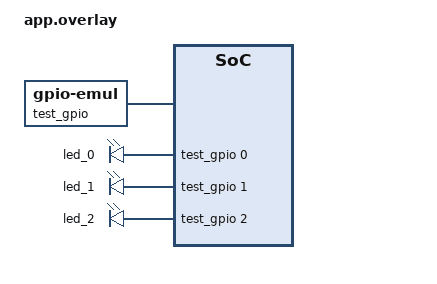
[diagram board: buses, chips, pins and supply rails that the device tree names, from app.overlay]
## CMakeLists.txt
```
# SPDX-License-Identifier: Apache-2.0

cmake_minimum_required(VERSION 3.28.0)

find_package(Zephyr REQUIRED HINTS $ENV{ZEPHYR_BASE})
project(led_unit_test)

set(LED_SRC_DIR ${CMAKE_CURRENT_SOURCE_DIR}/../../src/led)

target_sources(app PRIVATE
	${LED_SRC_DIR}/led.c
	${LED_SRC_DIR}/led_cmd.c
)

target_include_directories(app PRIVATE ${LED_SRC_DIR})

if(CONFIG_LED_TEST_NOT_READY)
	target_sources(app PRIVATE src/test_led_not_ready.c)
else()
	target_sources(app PRIVATE src/test_led.c)
endif()
```

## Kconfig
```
config LED_TEST_NOT_READY
	bool "Build the 'GPIO controller not ready' test scenario"
	help
	  Selects the test file that runs with a deferred-init GPIO controller.

rsource "../../Kconfig"
```

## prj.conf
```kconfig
CONFIG_ZTEST=y
CONFIG_GPIO=y
CONFIG_GPIO_EMUL=y
CONFIG_LOG=y

# Short periods keep the tests fast.
CONFIG_LED_PERIOD_SLOW_MS=400
CONFIG_LED_PERIOD_NORMAL_MS=200
CONFIG_LED_PERIOD_FAST_MS=100
```

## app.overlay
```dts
/ {
	aliases {
		led0 = &led_0;
		led1 = &led_1;
		led2 = &led_2;
	};

	test_gpio: test_gpio {
		compatible = "zephyr,gpio-emul";
		gpio-controller;
		#gpio-cells = <2>;
		ngpios = <8>;
	};

	leds {
		compatible = "gpio-leds";

		led_0: led_0 {
			gpios = <&test_gpio 0 GPIO_ACTIVE_HIGH>;
		};

		led_1: led_1 {
			gpios = <&test_gpio 1 GPIO_ACTIVE_HIGH>;
		};

		led_2: led_2 {
			gpios = <&test_gpio 2 GPIO_ACTIVE_HIGH>;
		};
	};
};
```

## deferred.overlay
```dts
/* SPDX-License-Identifier: Apache-2.0 */
/*
 * Cenario "controlador nao pronto": o LED1 passa para um GPIO com
 * zephyr,deferred-init, que so inicializa quando o teste chamar
 * device_init().
 */

#include <zephyr/dt-bindings/gpio/gpio.h>

/ {
	test_gpio_deferred: gpio_test_deferred {
		compatible = "zephyr,gpio-emul";
		gpio-controller;
		#gpio-cells = <2>;
		rising-edge;
		falling-edge;
		high-level;
		low-level;
		zephyr,deferred-init;
		status = "okay";
	};
};

&test_led1 {
	gpios = <&test_gpio_deferred 0 GPIO_ACTIVE_HIGH>;
};
```

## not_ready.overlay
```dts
/* The controller is never initialized, so it is never ready. */
&test_gpio {
	zephyr,deferred-init;
};
```

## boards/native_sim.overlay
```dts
/* SPDX-License-Identifier: Apache-2.0 */
/* O mesmo botao da aplicacao, para o teste ler sw0 pelo emulador. */

#include <zephyr/dt-bindings/input/input-event-codes.h>

/ {
	aliases {
		sw0 = &sw0;
	};

	buttons {
		compatible = "gpio-keys";

		sw0: button_0 {
			gpios = <&gpio0 1 GPIO_ACTIVE_HIGH>;
			zephyr,code = <INPUT_KEY_0>;
		};
	};
};
```

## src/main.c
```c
/*
 * Testes unitários do módulo de LEDs (ztest + gpio-emul no native_sim).
 */
#include <errno.h>
#include <zephyr/kernel.h>
#include <zephyr/ztest.h>
#include <zephyr/drivers/gpio.h>
#include <zephyr/drivers/gpio/gpio_emul.h>

#include "leds.h"

#define N_LEDS 3

static const struct gpio_dt_spec pins[N_LEDS] = {
	GPIO_DT_SPEC_GET(DT_ALIAS(led0), gpios),
	GPIO_DT_SPEC_GET(DT_ALIAS(led1), gpios),
	GPIO_DT_SPEC_GET(DT_ALIAS(led2), gpios),
};

/* Nível físico do pino (ativo em alto: 1 = LED ligado). */
static int level(size_t i)
{
	return gpio_emul_output_get_dt(&pins[i]);
}

/* Amostra o pino durante @p ms (tempo real do kernel) e conta as trocas. */
static unsigned int count_transitions(size_t i, int ms)
{
	unsigned int n = 0;
	int prev = level(i);
	int64_t end = k_uptime_get() + ms;

	while (k_uptime_get() < end) {
		k_msleep(1);

		int cur = level(i);

		if (cur != prev) {
			n++;
			prev = cur;
		}
	}

	return n;
}

static void before_each(void *fixture)
{
	ARG_UNUSED(fixture);
	zassert_ok(leds_init());
}

ZTEST_SUITE(leds, NULL, NULL, before_each, NULL, NULL);

ZTEST(leds, test_init_ok_all_off)
{
	zassert_equal(leds_count(), N_LEDS);

	for (size_t i = 0; i < N_LEDS; i++) {
		zassert_equal(level(i), 0, "LED %zu deveria iniciar desligado", i);
	}
}

ZTEST(leds, test_reinit_stops_blink)
{
	zassert_ok(leds_blink(0, LEDS_PATTERN_FAST));
	k_msleep(CONFIG_APP_LEDS_FAST_MS / 2);

	zassert_ok(leds_init());
	zassert_equal(level(0), 0);
	zassert_equal(count_transitions(0, 4 * CONFIG_APP_LEDS_FAST_MS), 0);

	/* O timer continua funcional depois da reinicialização. */
	zassert_ok(leds_blink(0, LEDS_PATTERN_FAST));
	zassert_true(count_transitions(0, 4 * CONFIG_APP_LEDS_FAST_MS) > 0);
}

ZTEST(leds, test_on_off_toggle_change_pin)
{
	for (size_t i = 0; i < N_LEDS; i++) {
		zassert_ok(leds_on(i));
		zassert_equal(level(i), 1);

		zassert_ok(leds_off(i));
		zassert_equal(level(i), 0);

		zassert_ok(leds_toggle(i));
		zassert_equal(level(i), 1);

		zassert_ok(leds_toggle(i));
		zassert_equal(level(i), 0);
	}
}

ZTEST(leds, test_blink_observed_on_and_off)
{
	bool seen_on = false;
	bool seen_off = false;

	zassert_ok(leds_blink(0, LEDS_PATTERN_NORMAL));

	for (int t = 0; t < 3 * CONFIG_APP_LEDS_NORMAL_MS; t++) {
		int v = level(0);

		seen_on |= (v == 1);
		seen_off |= (v == 0);
		k_msleep(1);
	}

	zassert_true(seen_on, "pino nunca foi visto ligado");
	zassert_true(seen_off, "pino nunca foi visto desligado");
}

ZTEST(leds, test_two_leds_different_periods)
{
	zassert_ok(leds_blink(0, LEDS_PATTERN_SLOW));
	zassert_ok(leds_blink(1, LEDS_PATTERN_FAST));

	int window = 4 * CONFIG_APP_LEDS_SLOW_MS;
	unsigned int slow = 0;
	unsigned int fast = 0;
	int prev_slow = level(0);
	int prev_fast = level(1);

	/* Observa os dois no mesmo intervalo de tempo. */
	for (int t = 0; t < window; t++) {
		k_msleep(1);

		int s = level(0);
		int f = level(1);

		slow += (s != prev_slow);
		fast += (f != prev_fast);
		prev_slow = s;
		prev_fast = f;
	}

	zassert_true(slow > 0, "LED lento nao piscou");
	zassert_true(fast > slow, "rapido (%u) deveria trocar mais que lento (%u)", fast, slow);
}

ZTEST(leds, test_leds_are_independent)
{
	/* LED 0 pisca; mexer no LED 1 não pode alterar o período do LED 0. */
	zassert_ok(leds_blink(0, LEDS_PATTERN_NORMAL));
	k_msleep(CONFIG_APP_LEDS_NORMAL_MS / 3);

	zassert_ok(leds_blink(1, LEDS_PATTERN_FAST));
	k_msleep(CONFIG_APP_LEDS_FAST_MS * 2 + 7);
	zassert_ok(leds_blink(1, LEDS_PATTERN_SLOW));
	k_msleep(CONFIG_APP_LEDS_SLOW_MS / 2 + 3);
	zassert_ok(leds_off(1));

	int window = 10 * CONFIG_APP_LEDS_NORMAL_MS;
	unsigned int n = count_transitions(0, window);

	/* Esperado: ~10 trocas (tolerância de 1 por borda da janela). */
	zassert_between_inclusive(n, 9, 11, "LED 0 trocou %u vezes (esperado ~10)", n);
	zassert_equal(level(1), 0);
}

ZTEST(leds, test_on_off_toggle_cancel_blink)
{
	int (*const actions[])(size_t) = { leds_on, leds_off, leds_toggle };

	for (size_t a = 0; a < ARRAY_SIZE(actions); a++) {
		zassert_ok(leds_init());
		zassert_ok(leds_blink(0, LEDS_PATTERN_FAST));
		k_msleep(CONFIG_APP_LEDS_FAST_MS * 3 / 2);

		zassert_ok(actions[a](0));
		zassert_equal(count_transitions(0, 5 * CONFIG_APP_LEDS_FAST_MS), 0,
			      "acao %zu nao cancelou o pisca", a);
	}
}

ZTEST(leds, test_apply_all)
{
	zassert_ok(leds_apply_all(LEDS_CMD_ON, 0));
	for (size_t i = 0; i < N_LEDS; i++) {
		zassert_equal(level(i), 1, "LED %zu nao ligou", i);
	}

	zassert_ok(leds_apply_all(LEDS_CMD_OFF, 0));
	for (size_t i = 0; i < N_LEDS; i++) {
		zassert_equal(level(i), 0, "LED %zu nao desligou", i);
	}

	zassert_ok(leds_apply_all(LEDS_CMD_TOGGLE, 0));
	for (size_t i = 0; i < N_LEDS; i++) {
		zassert_equal(level(i), 1, "LED %zu nao alternou", i);
	}

	/* LEDS_ALL também vale nos atalhos. */
	zassert_ok(leds_off(LEDS_ALL));
	for (size_t i = 0; i < N_LEDS; i++) {
		zassert_equal(level(i), 0);
	}
}

ZTEST(leds, test_apply_all_blink_and_stop)
{
	zassert_ok(leds_apply_all(LEDS_CMD_BLINK, LEDS_PATTERN_FAST));

	bool seen_on[N_LEDS] = { false };
	bool seen_off[N_LEDS] = { false };

	for (int t = 0; t < 3 * CONFIG_APP_LEDS_FAST_MS; t++) {
		for (size_t i = 0; i < N_LEDS; i++) {
			int v = level(i);

			seen_on[i] |= (v == 1);
			seen_off[i] |= (v == 0);
		}
		k_msleep(1);
	}

	for (size_t i = 0; i < N_LEDS; i++) {
		zassert_true(seen_on[i] && seen_off[i], "LED %zu nao piscou", i);
	}

	zassert_ok(leds_apply_all(LEDS_CMD_OFF, 0));
	for (size_t i = 0; i < N_LEDS; i++) {
		zassert_equal(count_transitions(i, 3 * CONFIG_APP_LEDS_FAST_MS), 0);
		zassert_equal(level(i), 0);
	}
}

ZTEST(leds, test_invalid_arguments)
{
	/* LED fora do intervalo */
	zassert_equal(leds_on(N_LEDS), -EINVAL);
	zassert_equal(leds_off(N_LEDS + 10), -EINVAL);
	zassert_equal(leds_toggle(N_LEDS), -EINVAL);
	zassert_equal(leds_blink(N_LEDS, LEDS_PATTERN_SLOW), -EINVAL);

	/* Padrão fora do intervalo */
	zassert_equal(leds_blink(0, LEDS_PATTERN_COUNT), -EINVAL);
	zassert_equal(leds_blink(0, (enum leds_pattern)99), -EINVAL);
	zassert_equal(leds_apply_all(LEDS_CMD_BLINK, LEDS_PATTERN_COUNT), -EINVAL);

	/* Comando inválido */
	zassert_equal(leds_apply(0, LEDS_CMD_COUNT, 0), -EINVAL);

	/* Nada mudou nos pinos */
	for (size_t i = 0; i < N_LEDS; i++) {
		zassert_equal(level(i), 0);
	}
}
```

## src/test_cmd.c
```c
/*******************************************************************
 * @file test_cmd.c
 *
 * @brief Testes do parsing/dispatch com um HAL falso (sem GPIO).
 *******************************************************************/

#include <string.h>

#include <zephyr/ztest.h>

#include "cmd.h"

static bool fake_led;
static int fake_btn;
static int led_set_calls;

static int fake_led_set(bool on)
{
	led_set_calls++;
	fake_led = on;
	return 0;
}

static bool fake_led_get(void)
{
	return fake_led;
}

static int fake_btn_get(void)
{
	return fake_btn;
}

static int64_t fake_uptime(void)
{
	return 12345;
}

static const struct cmd_hal fake_hal = {
	.led_set = fake_led_set,
	.led_get = fake_led_get,
	.btn_get = fake_btn_get,
	.uptime_ms = fake_uptime,
};

static char out[256];

static const char *run(const char *line)
{
	int n = cmd_dispatch(line, out, sizeof(out));

	zassert_equal(n, (int)strlen(out), "retorno deve ser o tamanho da resposta");
	return out;
}

static void before(void *fixture)
{
	ARG_UNUSED(fixture);
	fake_led = false;
	fake_btn = 0;
	led_set_calls = 0;
	memset(out, 0, sizeof(out));
	cmd_init(&fake_hal);
}

ZTEST(cmd, test_help_lists_one_command_per_line)
{
	const char *r = run("HELP");

	zassert_not_null(strstr(r, "HELP"));
	zassert_not_null(strstr(r, "LED"));
	zassert_not_null(strstr(r, "BTN"));
	zassert_not_null(strstr(r, "UPTIME"));
	zassert_not_null(strstr(r, "ECHO"));
	zassert_not_equal(strncmp(r + strlen(r) - 2, "\r\n", 2), 0,
			  "o \\r\\n final e do transporte");
}

ZTEST(cmd, test_led_on_off)
{
	zassert_str_equal(run("LED ON"), "OK");
	zassert_true(fake_led);
	zassert_str_equal(run("LED"), "LED: ON");

	zassert_str_equal(run("LED OFF"), "OK");
	zassert_false(fake_led);
	zassert_str_equal(run("LED"), "LED: OFF");
	zassert_equal(led_set_calls, 2);
}

ZTEST(cmd, test_case_insensitive)
{
	zassert_str_equal(run("led on"), "OK");
	zassert_str_equal(run("Led"), "LED: ON");
	zassert_str_equal(run("lEd oFf"), "OK");
	zassert_str_equal(run("btn"), "BTN: 0");
}

ZTEST(cmd, test_btn)
{
	zassert_str_equal(run("BTN"), "BTN: 0");
	fake_btn = 1;
	zassert_str_equal(run("BTN"), "BTN: 1");
}

ZTEST(cmd, test_uptime)
{
	zassert_str_equal(run("UPTIME"), "UPTIME: 12345 ms");
}

ZTEST(cmd, test_echo_keeps_text)
{
	zassert_str_equal(run("ECHO oi"), "oi");
	zassert_str_equal(run("echo Ola  Mundo "), "Ola  Mundo ");
	zassert_str_equal(run("ECHO"), "");
}

ZTEST(cmd, test_unknown)
{
	zassert_str_equal(run("FOO"), "ERR: unknown command");
	zassert_str_equal(run("LEDON"), "ERR: unknown command");
	zassert_str_equal(run("LED BLINK"), "ERR: unknown command");
	zassert_str_equal(run("BTN 1"), "ERR: unknown command");
	zassert_equal(led_set_calls, 0);
}

ZTEST(cmd, test_whitespace)
{
	zassert_str_equal(run("   LED   ON  "), "OK");
	zassert_equal(cmd_dispatch("", out, sizeof(out)), 0);
	zassert_equal(cmd_dispatch("   ", out, sizeof(out)), 0);
}

ZTEST(cmd, test_small_buffer_is_truncated)
{
	char small[4];
	int n = cmd_dispatch("ECHO abcdef", small, sizeof(small));

	zassert_equal(n, 3);
	zassert_str_equal(small, "abc");
}

ZTEST_SUITE(cmd, NULL, NULL, before, NULL, NULL);
```

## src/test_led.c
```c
/**
 * @file test_led.c
 *
 * @brief LED driver unit tests, with the GPIO controller ready.
 *
 * Pin levels are read from the GPIO emulator. Pin N is LED N, following
 * the order of declaration in app.overlay.
 */
#include <errno.h>

#include <zephyr/devicetree.h>
#include <zephyr/drivers/gpio/gpio_emul.h>
#include <zephyr/kernel.h>
#include <zephyr/ztest.h>

#include "led.h"

#define GPIO_DEV DEVICE_DT_GET(DT_NODELABEL(test_gpio))
#define NUM_LEDS DT_CHILD_NUM_STATUS_OKAY(DT_PATH(leds))

#define SAMPLE_STEP_MS 5

/* What was observed on a pin while it was watched. */
struct pin_stats {
	int highs; /* samples with the pin on */
	int lows;  /* samples with the pin off */
	int edges; /* level changes */
};

static int pin_level(int led)
{
	return gpio_emul_output_get(GPIO_DEV, led);
}

static void assert_all_pins(int level)
{
	for (int i = 0; i < NUM_LEDS; i++) {
		zassert_equal(pin_level(i), level, "LED %d: unexpected pin level", i);
	}
}

/* Sample the pins of @p count LEDs together for @p duration_ms. */
static void watch_pins(const int *leds, struct pin_stats *stats, size_t count, int duration_ms)
{
	int last[count];

	for (size_t i = 0; i < count; i++) {
		stats[i] = (struct pin_stats){0};
		last[i] = pin_level(leds[i]);
	}

	for (int t = 0; t < duration_ms; t += SAMPLE_STEP_MS) {
		for (size_t i = 0; i < count; i++) {
			int level = pin_level(leds[i]);

			stats[i].highs += (level != 0);
			stats[i].lows += (level == 0);
			stats[i].edges += (level != last[i]);
			last[i] = level;
		}

		k_msleep(SAMPLE_STEP_MS);
	}
}

static void led_before(void *fixture)
{
	ARG_UNUSED(fixture);

	/* Also stops any blinking left over from the previous test. */
	zassert_ok(led_init());
}

ZTEST_SUITE(led, NULL, NULL, led_before, NULL, NULL);

ZTEST(led, test_init_ok_all_off)
{
	led_on(LED_ALL);

	zassert_ok(led_init());
	assert_all_pins(0);
}

ZTEST(led, test_on_off_toggle)
{
	zassert_ok(led_on(0));
	zassert_equal(pin_level(0), 1);

	zassert_ok(led_off(0));
	zassert_equal(pin_level(0), 0);

	zassert_ok(led_toggle(0));
	zassert_equal(pin_level(0), 1);

	zassert_ok(led_toggle(0));
	zassert_equal(pin_level(0), 0);
}

ZTEST(led, test_blink_toggles_pin)
{
	const int leds[] = {0};
	struct pin_stats stats[1];

	zassert_ok(led_blink(0, LED_PROFILE_FAST));

	watch_pins(leds, stats, 1, 3 * CONFIG_LED_PERIOD_FAST_MS);

	zassert_true(stats[0].highs > 0, "pin was never on");
	zassert_true(stats[0].lows > 0, "pin was never off");
}

ZTEST(led, test_blink_independent_rates)
{
	const int leds[] = {0, 1};
	struct pin_stats stats[2];

	zassert_ok(led_blink(0, LED_PROFILE_SLOW));
	zassert_ok(led_blink(1, LED_PROFILE_FAST));

	watch_pins(leds, stats, 2, 2 * CONFIG_LED_PERIOD_SLOW_MS);

	zassert_true(stats[1].edges > stats[0].edges,
		     "fast LED toggled %d times, slow LED %d times", stats[1].edges,
		     stats[0].edges);
}

/* Actions that must cancel a blink in progress. */
static int (*const cancel_actions[])(int) = {led_on, led_off, led_toggle};

ZTEST(led, test_actions_cancel_blink)
{
	const int leds[] = {0};
	struct pin_stats stats[1];

	for (size_t i = 0; i < ARRAY_SIZE(cancel_actions); i++) {
		zassert_ok(led_blink(0, LED_PROFILE_FAST));
		k_msleep(CONFIG_LED_PERIOD_FAST_MS);

		zassert_ok(cancel_actions[i](0));

		watch_pins(leds, stats, 1, 2 * CONFIG_LED_PERIOD_FAST_MS);

		zassert_equal(stats[0].edges, 0, "action %zu did not cancel the blink", i);
	}
}

ZTEST(led, test_apply_to_all)
{
	zassert_ok(led_on(LED_ALL));
	assert_all_pins(1);

	zassert_ok(led_toggle(LED_ALL));
	assert_all_pins(0);
}

ZTEST(led, test_invalid_arguments)
{
	zassert_equal(led_on(NUM_LEDS), -EINVAL);
	zassert_equal(led_off(-2), -EINVAL);
	zassert_equal(led_blink(NUM_LEDS, LED_PROFILE_SLOW), -EINVAL);
	zassert_equal(led_blink(0, LED_PROFILE_COUNT), -EINVAL);
}
```

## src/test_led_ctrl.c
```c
/*******************************************************************
 * @file test_led_ctrl.c
 *
 * @brief Testes do led_ctrl observando os pinos com gpio_emul.
 *******************************************************************/

#include <errno.h>

#include <zephyr/drivers/gpio.h>
#include <zephyr/drivers/gpio/gpio_emul.h>
#include <zephyr/kernel.h>
#include <zephyr/ztest.h>

#include "led_ctrl.h"

#define N_LEDS    3
#define SAMPLE_MS 5

static const struct gpio_dt_spec pins[N_LEDS] = {
	GPIO_DT_SPEC_GET(DT_ALIAS(led0), gpios),
	GPIO_DT_SPEC_GET(DT_ALIAS(led1), gpios),
	GPIO_DT_SPEC_GET(DT_ALIAS(led2), gpios),
};

static const struct device *const late_gpio = DEVICE_DT_GET(DT_NODELABEL(late_gpio));

static int init_before_ready;
static int device_init_ret;

static int level(int led)
{
	return gpio_emul_output_get(pins[led].port, pins[led].pin);
}

/* Amostra os pinos por ms milissegundos e conta as trocas de nível. */
static void count_toggles(int ms, int toggles[N_LEDS])
{
	int prev[N_LEDS];

	for (int i = 0; i < N_LEDS; i++) {
		prev[i] = level(i);
		toggles[i] = 0;
	}

	/* Janela medida pelo relógio, não pelo número de amostras. */
	for (int64_t end = k_uptime_get() + ms; k_uptime_get() < end;) {
		k_msleep(SAMPLE_MS);
		for (int i = 0; i < N_LEDS; i++) {
			int now = level(i);

			toggles[i] += (now != prev[i]);
			prev[i] = now;
		}
	}
}

static void *suite_setup(void)
{
	/* late_gpio ainda não foi inicializado (zephyr,deferred-init). */
	init_before_ready = led_ctrl_init();
	device_init_ret = device_init(late_gpio);
	return NULL;
}

static void before(void *fixture)
{
	ARG_UNUSED(fixture);
	zassert_ok(led_ctrl_init());
}

static void after(void *fixture)
{
	ARG_UNUSED(fixture);
	(void)led_ctrl_init(); /* para qualquer pisca entre um teste e outro */
}

ZTEST_SUITE(led_ctrl, NULL, suite_setup, before, after, NULL);

ZTEST(led_ctrl, test_init_fails_with_controller_not_ready)
{
	zassert_equal(init_before_ready, -ENODEV, "init deveria falhar: %d", init_before_ready);
	zassert_ok(device_init_ret);
}

ZTEST(led_ctrl, test_init_ok_and_all_leds_off)
{
	zassert_equal(led_ctrl_count(), N_LEDS);

	zassert_ok(led_ctrl_on(LED_CTRL_ALL));
	zassert_ok(led_ctrl_init());

	for (int i = 0; i < N_LEDS; i++) {
		zassert_equal(level(i), 0, "LED %d deveria comecar desligado", i);
		zassert_equal(led_ctrl_get(i), 0);
	}
}

ZTEST(led_ctrl, test_reinit_while_blinking_stops_timer)
{
	int toggles[N_LEDS];

	zassert_ok(led_ctrl_blink(LED_CTRL_ALL, LED_PATTERN_FAST));
	k_msleep(30);
	zassert_ok(led_ctrl_init());

	count_toggles(3 * CONFIG_LED_CTRL_PERIOD_FAST_MS, toggles);
	for (int i = 0; i < N_LEDS; i++) {
		zassert_equal(toggles[i], 0, "LED %d continuou piscando apos init", i);
		zassert_equal(level(i), 0);
	}

	/* e o timer continua funcionando depois do init */
	zassert_ok(led_ctrl_blink(0, LED_PATTERN_FAST));
	count_toggles(2 * CONFIG_LED_CTRL_PERIOD_FAST_MS, toggles);
	zassert_true(toggles[0] > 0);
}

ZTEST(led_ctrl, test_on_off_toggle_change_pin)
{
	zassert_ok(led_ctrl_on(0));
	zassert_equal(level(0), 1);

	zassert_ok(led_ctrl_off(0));
	zassert_equal(level(0), 0);

	zassert_ok(led_ctrl_toggle(0));
	zassert_equal(level(0), 1);

	zassert_ok(led_ctrl_toggle(0));
	zassert_equal(level(0), 0);

	/* os outros LEDs não foram tocados */
	zassert_equal(level(1), 0);
	zassert_equal(level(2), 0);
}

ZTEST(led_ctrl, test_blink_is_seen_on_and_off)
{
	bool saw_on = false;
	bool saw_off = false;

	zassert_ok(led_ctrl_blink(1, LED_PATTERN_NORMAL));

	for (int64_t end = k_uptime_get() + 2 * CONFIG_LED_CTRL_PERIOD_NORMAL_MS;
	     k_uptime_get() < end;) {
		saw_on |= (level(1) == 1);
		saw_off |= (level(1) == 0);
		k_msleep(SAMPLE_MS);
	}

	zassert_true(saw_on, "LED nunca foi visto ligado");
	zassert_true(saw_off, "LED nunca foi visto desligado");
}

ZTEST(led_ctrl, test_faster_led_toggles_more)
{
	int toggles[N_LEDS];
	int window = 2 * CONFIG_LED_CTRL_PERIOD_SLOW_MS;

	zassert_ok(led_ctrl_blink(0, LED_PATTERN_FAST));
	zassert_ok(led_ctrl_blink(1, LED_PATTERN_SLOW));
	count_toggles(window, toggles);

	zassert_true(toggles[0] > toggles[1], "rapido=%d lento=%d", toggles[0], toggles[1]);

	/* cada LED troca a cada meio período do seu padrão (margem de 1) */
	zassert_within(toggles[0], window / (CONFIG_LED_CTRL_PERIOD_FAST_MS / 2), 1);
	zassert_within(toggles[1], window / (CONFIG_LED_CTRL_PERIOD_SLOW_MS / 2), 1);
	zassert_equal(toggles[2], 0, "LED parado nao pode trocar");
}

ZTEST(led_ctrl, test_on_off_toggle_cancel_blink)
{
	int (*const cancel[])(int) = {led_ctrl_on, led_ctrl_off, led_ctrl_toggle};
	int toggles[N_LEDS];

	for (size_t c = 0; c < ARRAY_SIZE(cancel); c++) {
		zassert_ok(led_ctrl_blink(0, LED_PATTERN_FAST));
		k_msleep(CONFIG_LED_CTRL_PERIOD_FAST_MS / 4);
		zassert_ok(cancel[c](0));

		count_toggles(3 * CONFIG_LED_CTRL_PERIOD_FAST_MS, toggles);
		zassert_equal(toggles[0], 0, "acao %u nao cancelou o pisca", (unsigned int)c);
	}
}

ZTEST(led_ctrl, test_other_led_does_not_change_phase)
{
	const int half = CONFIG_LED_CTRL_PERIOD_FAST_MS / 2;

	zassert_ok(led_ctrl_blink(0, LED_PATTERN_FAST));

	/* Amostra o LED0 no meio de cada meio-período: aceso, apagado, ...
	 * Enquanto isso o LED1 é ligado, piscado e desligado. */
	k_msleep(half / 2);
	for (int k = 0; k < 8; k++) {
		zassert_equal(level(0), (k % 2 == 0) ? 1 : 0, "fase do LED0 mudou em k=%d", k);

		if (k == 1) {
			zassert_ok(led_ctrl_blink(1, LED_PATTERN_SLOW));
		} else if (k == 3) {
			zassert_ok(led_ctrl_on(1));
		} else if (k == 5) {
			zassert_ok(led_ctrl_blink(1, LED_PATTERN_NORMAL));
		} else if (k == 6) {
			zassert_ok(led_ctrl_off(1));
		}

		k_msleep(half);
	}
}

ZTEST(led_ctrl, test_all_leds_action)
{
	int toggles[N_LEDS];

	zassert_ok(led_ctrl_on(LED_CTRL_ALL));
	for (int i = 0; i < N_LEDS; i++) {
		zassert_equal(level(i), 1, "LED %d nao ligou", i);
	}

	zassert_ok(led_ctrl_toggle(LED_CTRL_ALL));
	for (int i = 0; i < N_LEDS; i++) {
		zassert_equal(level(i), 0, "LED %d nao alternou", i);
	}

	zassert_ok(led_ctrl_blink(LED_CTRL_ALL, LED_PATTERN_FAST));
	count_toggles(2 * CONFIG_LED_CTRL_PERIOD_FAST_MS, toggles);
	for (int i = 0; i < N_LEDS; i++) {
		zassert_true(toggles[i] > 0, "LED %d nao piscou", i);
	}

	zassert_ok(led_ctrl_off(LED_CTRL_ALL));
	for (int i = 0; i < N_LEDS; i++) {
		zassert_equal(level(i), 0, "LED %d nao desligou", i);
	}
}

ZTEST(led_ctrl, test_invalid_led_and_pattern)
{
	zassert_equal(led_ctrl_on(N_LEDS), -EINVAL);
	zassert_equal(led_ctrl_off(-2), -EINVAL);
	zassert_equal(led_ctrl_toggle(99), -EINVAL);
	zassert_equal(led_ctrl_blink(N_LEDS, LED_PATTERN_FAST), -EINVAL);

	zassert_equal(led_ctrl_blink(0, LED_PATTERN_COUNT), -EINVAL);
	zassert_equal(led_ctrl_blink(0, (enum led_pattern) - 1), -EINVAL);
	zassert_equal(led_ctrl_apply(0, LED_ACTION_COUNT, LED_PATTERN_FAST), -EINVAL);
	zassert_equal(led_ctrl_get(N_LEDS), -EINVAL);

	/* nada mudou nos pinos */
	for (int i = 0; i < N_LEDS; i++) {
		zassert_equal(level(i), 0);
	}
}
```

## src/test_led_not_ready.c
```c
/**
 * @file test_led_not_ready.c
 *
 * @brief LED driver unit test, with the GPIO controller not ready.
 */
#include <errno.h>

#include <zephyr/ztest.h>

#include "led.h"

ZTEST_SUITE(led_not_ready, NULL, NULL, NULL, NULL, NULL);

ZTEST(led_not_ready, test_init_fails_not_ready) {
  zassert_equal(led_init(), -ENODEV,
                "init must fail if the controller is not ready");
}
```

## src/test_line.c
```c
/*******************************************************************
 * @file test_line.c
 *
 * @brief Testes do editor de linha (terminador, backspace, estouro).
 *******************************************************************/

#include <string.h>

#include <zephyr/ztest.h>

#include "line.h"

static struct line_editor le;

/* Alimenta a string inteira e devolve o evento do ultimo byte. */
static enum line_event feed_str(const char *s)
{
	enum line_event ev = LINE_EV_NONE;

	while (*s != '\0') {
		ev = line_feed(&le, *s++);
	}
	return ev;
}

static void before(void *fixture)
{
	ARG_UNUSED(fixture);
	line_init(&le);
}

ZTEST(line, test_line_ends_with_lf)
{
	zassert_equal(feed_str("HELP\n"), LINE_EV_DONE);
	zassert_str_equal(line_get(&le), "HELP");
}

ZTEST(line, test_line_ends_with_cr)
{
	zassert_equal(feed_str("BTN\r"), LINE_EV_DONE);
	zassert_str_equal(line_get(&le), "BTN");
}

ZTEST(line, test_crlf_is_single_terminator)
{
	zassert_equal(feed_str("LED\r"), LINE_EV_DONE);
	line_reset(&le);
	zassert_equal(line_feed(&le, '\n'), LINE_EV_NONE, "\\n apos \\r deve ser ignorado");
	zassert_equal(feed_str("BTN\n"), LINE_EV_DONE);
	zassert_str_equal(line_get(&le), "BTN");
}

ZTEST(line, test_char_events)
{
	zassert_equal(line_feed(&le, 'a'), LINE_EV_CHAR);
	zassert_equal(line_feed(&le, 0x01), LINE_EV_NONE, "controle deve ser ignorado");
	zassert_equal(le.len, 1);
}

ZTEST(line, test_backspace_bs_and_del)
{
	feed_str("LEDX");
	zassert_equal(line_feed(&le, 0x08), LINE_EV_ERASE);
	feed_str(" ONN");
	zassert_equal(line_feed(&le, 0x7F), LINE_EV_ERASE);
	zassert_equal(feed_str("\n"), LINE_EV_DONE);
	zassert_str_equal(line_get(&le), "LED ON");
}

ZTEST(line, test_backspace_on_empty_line)
{
	zassert_equal(line_feed(&le, 0x7F), LINE_EV_NONE);
	zassert_equal(le.len, 0);
}

ZTEST(line, test_exactly_max_is_accepted)
{
	char s[CONFIG_APP_LINE_BUF_SIZE + 1];

	memset(s, 'a', CONFIG_APP_LINE_BUF_SIZE);
	s[CONFIG_APP_LINE_BUF_SIZE] = '\0';

	feed_str(s);
	zassert_equal(line_feed(&le, '\n'), LINE_EV_DONE);
	zassert_equal(strlen(line_get(&le)), CONFIG_APP_LINE_BUF_SIZE);
}

ZTEST(line, test_too_long_is_discarded)
{
	for (int i = 0; i < CONFIG_APP_LINE_BUF_SIZE + 10; i++) {
		line_feed(&le, 'x');
	}
	zassert_equal(line_feed(&le, 0x7F), LINE_EV_NONE, "backspace nao recupera a linha");
	zassert_equal(line_feed(&le, '\r'), LINE_EV_TOO_LONG);

	/* A linha seguinte comeca limpa. */
	zassert_equal(feed_str("BTN\r"), LINE_EV_DONE);
	zassert_str_equal(line_get(&le), "BTN");
}

ZTEST(line, test_empty_line)
{
	zassert_equal(line_feed(&le, '\n'), LINE_EV_DONE);
	zassert_str_equal(line_get(&le), "");
}

ZTEST_SUITE(line, NULL, NULL, before, NULL, NULL);
```

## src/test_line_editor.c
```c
#include <zephyr/ztest.h>
#include <string.h>

#include "core/line_editor.h"

#define BUF_SZ 8 /* maximo de 7 caracteres */

static struct line_editor le;
static char buf[BUF_SZ];

static void before(void *f)
{
	ARG_UNUSED(f);
	line_editor_init(&le, buf, sizeof(buf));
}

/* alimenta uma string e devolve o ultimo evento */
static enum line_ev feed(const char *s)
{
	enum line_ev ev = LINE_EV_NONE;

	for (; *s; s++) {
		ev = line_editor_feed(&le, (uint8_t)*s);
	}
	return ev;
}

ZTEST(line_editor, test_char_is_echoed)
{
	zassert_equal(line_editor_feed(&le, 'a'), LINE_EV_ECHO);
}

ZTEST(line_editor, test_lf_terminates)
{
	zassert_equal(feed("abc\n"), LINE_EV_LINE);
	zassert_str_equal(buf, "abc");
}

ZTEST(line_editor, test_cr_terminates)
{
	zassert_equal(feed("abc\r"), LINE_EV_LINE);
	zassert_str_equal(buf, "abc");
}

ZTEST(line_editor, test_crlf_is_single_terminator)
{
	zassert_equal(feed("abc\r"), LINE_EV_LINE);
	zassert_equal(line_editor_feed(&le, '\n'), LINE_EV_NONE);
}

ZTEST(line_editor, test_empty_line)
{
	zassert_equal(feed("\n"), LINE_EV_LINE);
	zassert_str_equal(buf, "");
}

ZTEST(line_editor, test_backspace_0x08)
{
	zassert_equal(feed("ab"), LINE_EV_ECHO);
	zassert_equal(line_editor_feed(&le, 0x08), LINE_EV_ERASE);
	zassert_equal(feed("c\n"), LINE_EV_LINE);
	zassert_str_equal(buf, "ac");
}

ZTEST(line_editor, test_backspace_0x7f)
{
	zassert_equal(feed("ab"), LINE_EV_ECHO);
	zassert_equal(line_editor_feed(&le, 0x7F), LINE_EV_ERASE);
	zassert_equal(feed("c\n"), LINE_EV_LINE);
	zassert_str_equal(buf, "ac");
}

ZTEST(line_editor, test_backspace_on_empty_does_nothing)
{
	zassert_equal(line_editor_feed(&le, 0x7F), LINE_EV_NONE);
	zassert_equal(feed("x\n"), LINE_EV_LINE);
	zassert_str_equal(buf, "x");
}

ZTEST(line_editor, test_control_chars_ignored)
{
	zassert_equal(line_editor_feed(&le, '\t'), LINE_EV_NONE);
	zassert_equal(line_editor_feed(&le, 0x1B), LINE_EV_NONE);
	zassert_equal(feed("a\n"), LINE_EV_LINE);
	zassert_str_equal(buf, "a");
}

ZTEST(line_editor, test_max_length_line_is_accepted)
{
	zassert_equal(feed("1234567"), LINE_EV_ECHO);
	zassert_equal(feed("\n"), LINE_EV_LINE);
	zassert_str_equal(buf, "1234567");
}

ZTEST(line_editor, test_too_long_line_is_discarded_whole)
{
	zassert_equal(feed("1234567"), LINE_EV_ECHO);
	zassert_equal(line_editor_feed(&le, '8'), LINE_EV_NONE); /* estourou */
	zassert_equal(feed("9999"), LINE_EV_NONE);               /* descartando */
	zassert_equal(feed("\n"), LINE_EV_TOO_LONG);
}

ZTEST(line_editor, test_recovers_after_too_long)
{
	zassert_equal(feed("123456789\n"), LINE_EV_TOO_LONG);
	zassert_equal(feed("ok\n"), LINE_EV_LINE);
	zassert_str_equal(buf, "ok");
}

ZTEST(line_editor, test_backspace_ignored_while_overflowing)
{
	zassert_equal(feed("12345678"), LINE_EV_NONE);
	zassert_equal(line_editor_feed(&le, 0x7F), LINE_EV_NONE);
	zassert_equal(feed("\r"), LINE_EV_TOO_LONG);
}

ZTEST_SUITE(line_editor, NULL, NULL, before, NULL, NULL);
```

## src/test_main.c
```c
/*******************************************************************
 * @file test_main.c
 *
 * @brief Testes ztest do driver de LED, observando o nivel dos pinos
 *        pelo gpio-emul (nenhum hardware real envolvido).
 *******************************************************************/

#include <errno.h>
#include <stdbool.h>

#include <zephyr/device.h>
#include <zephyr/drivers/gpio.h>
#include <zephyr/drivers/gpio/gpio_emul.h>
#include <zephyr/kernel.h>
#include <zephyr/ztest.h>

#include "led.h"

#define LED_A 0U
#define LED_B 1U

/* O controlador do overlay de teste esta com zephyr,deferred-init. */
static const struct device *const gpio_test = DEVICE_DT_GET(DT_NODELABEL(gpio_test));

static const struct gpio_dt_spec spec_a = GPIO_DT_SPEC_GET(DT_ALIAS(led0), gpios);
static const struct gpio_dt_spec spec_b = GPIO_DT_SPEC_GET(DT_ALIAS(led1), gpios);
static const struct gpio_dt_spec *const specs[] = {&spec_a, &spec_b};

static int pin_level(int id)
{
	return gpio_emul_output_get_dt(specs[id]);
}

/** @brief Observa o pino por @p samples leituras e exige ver 1 e 0. */
static void check_blinking(int id, int samples, int step_ms, const char *name)
{
	int seen_on = 0;
	int seen_off = 0;
	int i;

	for (i = 0; i < samples; i++) {
		int level;

		k_msleep(step_ms);
		level = pin_level(id);
		zassert_true(level >= 0, "%s: pin read failed (%d)", name, level);

		if (level > 0) {
			seen_on++;
		} else {
			seen_off++;
		}
	}

	zassert_true(seen_on > 0, "%s was never seen on", name);
	zassert_true(seen_off > 0, "%s was never seen off", name);
}

/** @brief Conta quantas vezes o pino mudou de nivel. */
static int count_toggles(int id, int samples, int step_ms)
{
	int previous = pin_level(id);
	int toggles = 0;
	int i;

	for (i = 0; i < samples; i++) {
		int level;

		k_msleep(step_ms);
		level = pin_level(id);
		if (level != previous) {
			toggles++;
		}
		previous = level;
	}

	return toggles;
}

/** @brief Mede o intervalo entre duas trocas de nivel de um LED (ms). */
static int measure_period_ms(int led, int max_samples)
{
	int64_t last_edge = 0;
	int64_t delta = -1;
	int previous = pin_level(led);
	int i;

	for (i = 0; i < max_samples; i++) {
		int level;

		k_msleep(1);
		level = pin_level(led);

		if (level != previous) {
			int64_t now = k_uptime_get();

			if (last_edge != 0) {
				delta = now - last_edge;
				break;
			}
			last_edge = now;
		}
		previous = level;
	}

	return (int)delta;
}

static void *suite_setup(void)
{
	/* 1) Controlador deferido: o init tem que recusar. */
	zassert_equal(led_init(), -ENODEV, "led_init should fail while the GPIO is not ready");

	/* 2) Inicializa o emulador manualmente e agora o init passa. */
	zassert_ok(device_init(gpio_test), "failed to init the gpio-emul");
	zassert_true(device_is_ready(gpio_test), "gpio-emul is still not ready");
	zassert_ok(led_init(), "led_init should work after device_init");

	return NULL;
}

static void before_each(void *fixture)
{
	ARG_UNUSED(fixture);

	/* led_init e idempotente: reconfigura as saidas e zera os piscas. */
	zassert_ok(led_init());
	zassert_ok(led_off(LED_ALL));
}

ZTEST(led_driver, test_init_turns_all_leds_off)
{
	zassert_equal(led_count(), 2U, "the test overlay declares 2 LEDs");
	zassert_equal(pin_level(LED_A), 0, "led0 should start off");
	zassert_equal(pin_level(LED_B), 0, "led1 should start off");
}

ZTEST(led_driver, test_on_off_toggle_change_pin)
{
	zassert_ok(led_on(LED_A));
	zassert_equal(pin_level(LED_A), 1, "led_on did not drive the pin high");

	zassert_ok(led_off(LED_A));
	zassert_equal(pin_level(LED_A), 0, "led_off did not drive the pin low");

	zassert_ok(led_toggle(LED_A));
	zassert_equal(pin_level(LED_A), 1, "toggle should turn it on");

	zassert_ok(led_toggle(LED_A));
	zassert_equal(pin_level(LED_A), 0, "toggle should turn it off");
}

ZTEST(led_driver, test_blink_seen_on_and_off)
{
	zassert_ok(led_blink(LED_A, LED_PATTERN_FAST));

	check_blinking(LED_A, 20, 5, "led0 blinking");
}

ZTEST(led_driver, test_two_leds_different_rates)
{
	zassert_ok(led_blink(LED_A, LED_PATTERN_SLOW));
	zassert_ok(led_blink(LED_B, LED_PATTERN_FAST));

	/* 300 ms: o rapido alterna bem mais que o lento. */
	int slow = count_toggles(LED_A, 60, 5);
	int fast = count_toggles(LED_B, 60, 5);

	zassert_true(fast > slow, "the fast LED (%d) should toggle more than the slow one (%d)",
		     fast, slow);
	zassert_true(slow > 0, "the slow LED should have toggled at least once");
}

ZTEST(led_driver, test_actions_cancel_blink)
{
	int level;
	int i;

	/* led_on cancela */
	zassert_ok(led_blink(LED_A, LED_PATTERN_FAST));
	k_msleep(15);
	zassert_ok(led_on(LED_A));
	for (i = 0; i < 10; i++) {
		k_msleep(5);
		zassert_equal(pin_level(LED_A), 1, "LED resumed blinking after led_on");
	}

	/* led_off cancela */
	zassert_ok(led_blink(LED_A, LED_PATTERN_FAST));
	k_msleep(15);
	zassert_ok(led_off(LED_A));
	for (i = 0; i < 10; i++) {
		k_msleep(5);
		zassert_equal(pin_level(LED_A), 0, "LED resumed blinking after led_off");
	}

	/* led_toggle cancela e fixa o nivel */
	zassert_ok(led_blink(LED_A, LED_PATTERN_FAST));
	k_msleep(15);
	zassert_ok(led_toggle(LED_A));
	level = pin_level(LED_A);
	for (i = 0; i < 10; i++) {
		k_msleep(5);
		zassert_equal(pin_level(LED_A), level, "LED resumed blinking after led_toggle");
	}
}

ZTEST(led_driver, test_all_action_affects_every_led)
{
	zassert_ok(led_on(LED_ALL));
	zassert_equal(pin_level(LED_A), 1, "led0 was not turned on by 'all'");
	zassert_equal(pin_level(LED_B), 1, "led1 was not turned on by 'all'");

	zassert_ok(led_off(LED_ALL));
	zassert_equal(pin_level(LED_A), 0, "led0 was not turned off by 'all'");
	zassert_equal(pin_level(LED_B), 0, "led1 was not turned off by 'all'");

	zassert_ok(led_toggle(LED_ALL));
	zassert_equal(pin_level(LED_A), 1, "toggle on all should turn led0 on");
	zassert_equal(pin_level(LED_B), 1, "toggle on all should turn led1 on");
}

ZTEST(led_driver, test_blink_all_starts_every_led)
{
	zassert_ok(led_blink(LED_ALL, LED_PATTERN_FAST));

	check_blinking(LED_A, 20, 5, "led0 during blink_all");
	check_blinking(LED_B, 20, 5, "led1 during blink_all");
}

ZTEST(led_driver, test_invalid_arguments_return_einval)
{
	zassert_equal(led_on(led_count()), -EINVAL, "out-of-range index should fail");
	zassert_equal(led_off(led_count()), -EINVAL);
	zassert_equal(led_toggle(led_count()), -EINVAL);
	zassert_equal(led_apply(LED_A, LED_ACTION_COUNT, LED_PATTERN_SLOW), -EINVAL,
		      "invalid action should fail");
	zassert_equal(led_apply(LED_ALL, LED_ACTION_COUNT, LED_PATTERN_SLOW), -EINVAL);
	zassert_equal(led_blink(LED_A, LED_PATTERN_COUNT), -EINVAL, "invalid pattern should fail");
	zassert_equal(led_blink(LED_ALL, LED_PATTERN_COUNT), -EINVAL);
}

ZTEST(led_driver, test_reinit_keeps_timer_working)
{
	/* Reinit no meio da operacao nao pode matar o timer unico. */
	zassert_ok(led_init());
	zassert_ok(led_init());

	zassert_ok(led_blink(LED_B, LED_PATTERN_FAST));
	check_blinking(LED_B, 20, 5, "led1 after double led_init");
}

ZTEST(led_driver, test_other_led_keeps_phase)
{
	int before;
	int after;

	zassert_ok(led_blink(LED_B, LED_PATTERN_FAST));

	before = measure_period_ms(LED_B, 200);
	zassert_true(before > 0, "could not measure led1 initial period");

	/* Mexe no outro LED varias vezes, no meio do pisca do led1. */
	zassert_ok(led_blink(LED_A, LED_PATTERN_FAST));
	k_msleep(7);
	zassert_ok(led_on(LED_A));
	zassert_ok(led_off(LED_A));
	zassert_ok(led_blink(LED_A, LED_PATTERN_SLOW));

	after = measure_period_ms(LED_B, 200);
	zassert_true(after > 0, "could not measure led1 final period");

	zassert_true((after - before <= 4) && (before - after <= 4),
		     "led1 phase shifted when led0 was touched (before=%d ms, after=%d ms)", before,
		     after);
}

ZTEST_SUITE(led_driver, NULL, suite_setup, before_each, NULL, NULL);
```

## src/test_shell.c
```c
#include <string.h>
#include <zephyr/ztest.h>

#include "shell.h"

static bool led_state;
static int btn_state;
static int64_t uptime_ms;

void io_led_set(bool on)
{
	led_state = on;
}

bool io_led_get(void)
{
	return led_state;
}

int io_btn_get(void)
{
	return btn_state;
}

int64_t io_uptime_get(void)
{
	return uptime_ms;
}

ZTEST_SUITE(shell_suite, NULL, NULL, NULL, NULL, NULL);

ZTEST(shell_suite, test_help)
{
	char out[128];

	shell_dispatch("HELP", out, sizeof(out));
	zassert_true(strlen(out) > 0);
	zassert_not_null(strstr(out, "HELP"));
	zassert_not_null(strstr(out, "LED"));
}

ZTEST(shell_suite, test_led_on_off)
{
	char out[64];

	shell_dispatch("LED ON", out, sizeof(out));
	zassert_str_equal("OK", out);
	zassert_true(led_state);

	shell_dispatch("led off", out, sizeof(out));
	zassert_str_equal("OK", out);
	zassert_false(led_state);
}

ZTEST(shell_suite, test_led_state)
{
	char out[64];

	led_state = true;
	shell_dispatch("LED", out, sizeof(out));
	zassert_str_equal("LED: ON", out);

	led_state = false;
	shell_dispatch("LED", out, sizeof(out));
	zassert_str_equal("LED: OFF", out);
}

ZTEST(shell_suite, test_btn)
{
	char out[64];

	btn_state = 1;
	shell_dispatch("BTN", out, sizeof(out));
	zassert_str_equal("BTN: 1", out);

	btn_state = 0;
	shell_dispatch("BTN", out, sizeof(out));
	zassert_str_equal("BTN: 0", out);
}

ZTEST(shell_suite, test_uptime)
{
	char out[64];

	uptime_ms = 12345;
	shell_dispatch("UPTIME", out, sizeof(out));
	zassert_str_equal("UPTIME: 12345 ms", out);
}

ZTEST(shell_suite, test_echo)
{
	char out[64];

	shell_dispatch("ECHO hello world", out, sizeof(out));
	zassert_str_equal("hello world", out);
}

ZTEST(shell_suite, test_unknown)
{
	char out[64];

	shell_dispatch("FOO", out, sizeof(out));
	zassert_str_equal("ERR: unknown command", out);
}

ZTEST(shell_suite, test_case_insensitive)
{
	char out[64];

	shell_dispatch("help", out, sizeof(out));
	zassert_true(strlen(out) > 0);

	shell_dispatch("Echo MixEd", out, sizeof(out));
	zassert_str_equal("MixEd", out);
}
```

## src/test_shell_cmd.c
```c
#include <zephyr/ztest.h>
#include <string.h>

#include "core/shell_cmd.h"

struct mock {
	bool led;
	int btn;
	int64_t uptime;
	int led_fail; /* retorno forcado nas operacoes de LED */
};

static struct mock m;

static int mock_led_set(void *u, bool on)
{
	struct mock *p = u;

	if (p->led_fail) {
		return p->led_fail;
	}
	p->led = on;
	return 0;
}

static int mock_led_toggle(void *u)
{
	struct mock *p = u;

	if (p->led_fail) {
		return p->led_fail;
	}
	p->led = !p->led;
	return 0;
}

static int mock_led_get(void *u)
{
	return ((struct mock *)u)->led ? 1 : 0;
}

static int mock_btn_get(void *u)
{
	return ((struct mock *)u)->btn;
}

static int64_t mock_uptime(void *u)
{
	return ((struct mock *)u)->uptime;
}

static const struct shell_hw_ops hw = {
	.led_set = mock_led_set,
	.led_toggle = mock_led_toggle,
	.led_get = mock_led_get,
	.button_get = mock_btn_get,
	.uptime_ms = mock_uptime,
	.user = &m,
};

static char out[256];

static void before(void *f)
{
	ARG_UNUSED(f);
	memset(&m, 0, sizeof(m));
	memset(out, 'X', sizeof(out));
}

/* copia para buffer gravavel (a execuçao modifica a linha) */
static size_t run_hw(const struct shell_hw_ops *ops, const char *cmd)
{
	char line[96];

	strncpy(line, cmd, sizeof(line) - 1);
	line[sizeof(line) - 1] = '\0';
	return shell_cmd_execute(ops, line, out, sizeof(out));
}

static size_t run(const char *cmd)
{
	return run_hw(&hw, cmd);
}

ZTEST(shell_cmd, test_help_lists_all_commands)
{
	size_t n = run("HELP");

	zassert_equal(n, strlen(out));
	zassert_not_null(strstr(out, "HELP"));
	zassert_not_null(strstr(out, "LED"));
	zassert_not_null(strstr(out, "BTN"));
	zassert_not_null(strstr(out, "UPTIME"));
	zassert_not_null(strstr(out, "ECHO"));
	zassert_not_null(strstr(out, "VERSION"));
}

ZTEST(shell_cmd, test_response_has_no_trailing_crlf)
{
	size_t n = run("VERSION");

	zassert_true(n > 0);
	zassert_not_equal(out[n - 1], '\n');
	zassert_not_equal(out[n - 1], '\r');
}

ZTEST(shell_cmd, test_commands_are_case_insensitive)
{
	run("hElP");
	zassert_not_null(strstr(out, "LED"));

	run("led on");
	zassert_str_equal(out, "LED: ON");
	zassert_true(m.led);

	run("LeD OfF");
	zassert_str_equal(out, "LED: OFF");
	zassert_false(m.led);
}

ZTEST(shell_cmd, test_led_on_off_toggle_status)
{
	run("LED ON");
	zassert_str_equal(out, "LED: ON");
	run("LED");
	zassert_str_equal(out, "LED: ON");
	run("LED TOGGLE");
	zassert_str_equal(out, "LED: OFF");
	zassert_false(m.led);
	run("LED TOGGLE");
	zassert_str_equal(out, "LED: ON");
	run("LED OFF");
	zassert_str_equal(out, "LED: OFF");
}

ZTEST(shell_cmd, test_led_bad_argument)
{
	run("LED BLINK");
	zassert_str_equal(out, "ERR: usage: LED [ON|OFF|TOGGLE]");
	run("LED ON OFF");
	zassert_str_equal(out, "ERR: usage: LED [ON|OFF|TOGGLE]");
}

ZTEST(shell_cmd, test_led_hardware_error)
{
	m.led_fail = -5;
	run("LED ON");
	zassert_str_equal(out, "ERR: hardware error");
}

ZTEST(shell_cmd, test_button_states)
{
	m.btn = 1;
	run("BTN");
	zassert_str_equal(out, "BTN: PRESSED");
	m.btn = 0;
	run("btn");
	zassert_str_equal(out, "BTN: RELEASED");
	m.btn = -1;
	run("BTN");
	zassert_str_equal(out, "ERR: hardware error");
}

ZTEST(shell_cmd, test_uptime)
{
	m.uptime = 12345;
	run("UPTIME");
	zassert_str_equal(out, "UPTIME: 12345 ms");
}

ZTEST(shell_cmd, test_echo_preserves_case_and_joins_args)
{
	run("echo Hello   World");
	zassert_str_equal(out, "Hello World");
}

ZTEST(shell_cmd, test_echo_without_args)
{
	run("ECHO");
	zassert_str_equal(out, "ERR: usage: ECHO <text>");
}

ZTEST(shell_cmd, test_version)
{
	run("VERSION");
	zassert_not_null(strstr(out, "mini-shell"));
}

ZTEST(shell_cmd, test_unknown_command)
{
	run("FOO");
	zassert_str_equal(out, "ERR: unknown command");
}

ZTEST(shell_cmd, test_empty_and_blank_lines_produce_no_response)
{
	zassert_equal(run(""), 0);
	zassert_str_equal(out, "");
	zassert_equal(run("   \t  "), 0);
	zassert_str_equal(out, "");
}

ZTEST(shell_cmd, test_leading_and_trailing_whitespace)
{
	run("   led    on   ");
	zassert_str_equal(out, "LED: ON");
}

ZTEST(shell_cmd, test_too_many_arguments)
{
	run("ECHO 1 2 3 4 5 6 7 8 9");
	zassert_str_equal(out, "ERR: too many arguments");
}

ZTEST(shell_cmd, test_small_output_buffer_is_truncated_safely)
{
	char line[] = "HELP";
	char small[8];
	size_t n;

	memset(small, 'X', sizeof(small));
	n = shell_cmd_execute(&hw, line, small, sizeof(small));
	zassert_equal(n, sizeof(small) - 1);
	zassert_equal(small[sizeof(small) - 1], '\0');
	zassert_equal(strlen(small), n);
}

ZTEST(shell_cmd, test_missing_hw_ops_reports_not_supported)
{
	run_hw(NULL, "LED ON");
	zassert_str_equal(out, "ERR: not supported");
	run_hw(NULL, "BTN");
	zassert_str_equal(out, "ERR: not supported");
	run_hw(NULL, "UPTIME");
	zassert_str_equal(out, "ERR: not supported");
	/* comandos sem hardware continuam funcionando */
	run_hw(NULL, "ECHO ok");
	zassert_str_equal(out, "ok");
}

ZTEST_SUITE(shell_cmd, NULL, NULL, before, NULL, NULL);
```
